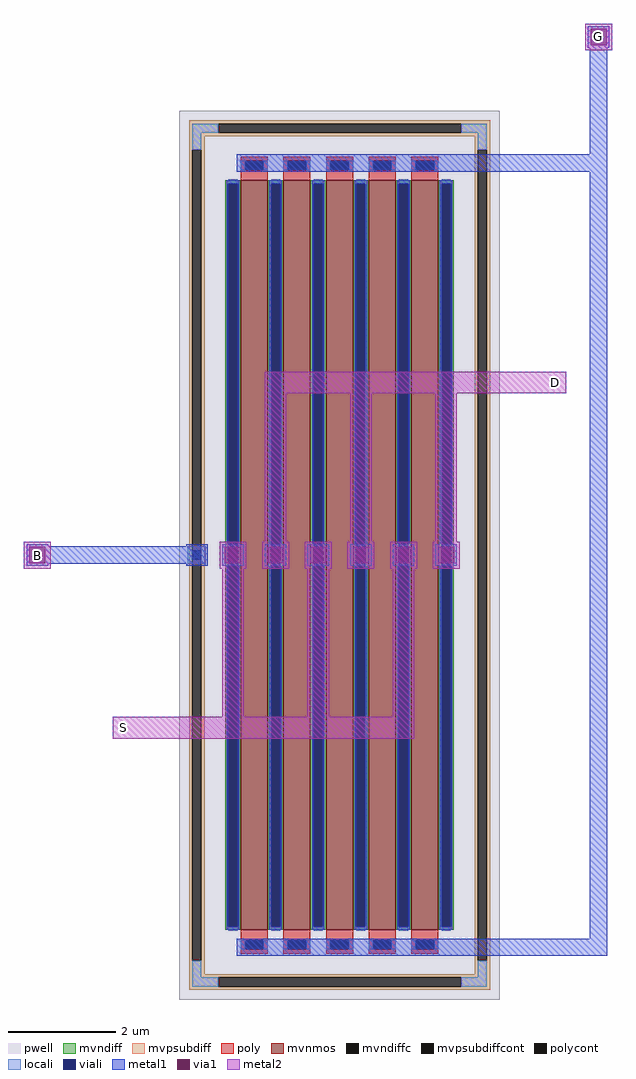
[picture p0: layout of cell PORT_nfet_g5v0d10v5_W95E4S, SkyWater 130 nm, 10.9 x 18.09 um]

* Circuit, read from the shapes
.subckt PORT_nfet_g5v0d10v5_W95E4S B S D G
XM1 D G S B sky130_fd_pr__nfet_g5v0d10v5 w=13.89 l=0.5 m=5
.ends

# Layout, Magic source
magic
tech sky130A
magscale 1 2
use sky130_fd_pr__nfet_g5v0d10v5_W95E4S XDEV
transform 1 0 0 0 1 0
box -594 -1647 594 1647
<< locali >>
rect -562 -33 -496 33
<< viali >>
rect -546 -17 -512 17
<< metal1 >>
rect -569 -40 -489 40
rect -1152 -32 -497 32
rect -1160 -40 -1080 40
rect -435 -40 -355 40
rect -277 -40 -197 40
rect -119 -40 -39 40
rect 39 -40 119 40
rect 197 -40 277 40
rect 355 -40 435 40
rect -382 1421 992 1485
rect -382 -1485 992 -1421
rect 928 -1476 992 1952
rect 920 1880 1000 1960
<< via1 >>
rect -1150 -30 -1090 30
rect -425 -30 -365 30
rect -267 -30 -207 30
rect -109 -30 -49 30
rect 49 -30 109 30
rect 207 -30 267 30
rect 365 -30 425 30
rect 930 1890 990 1950
<< metal2 >>
rect -1170 -50 -1070 50
rect -445 -50 -345 50
rect -435 -40 -355 40
rect -435 -680 -355 40
rect -287 -50 -187 50
rect -277 -40 -197 40
rect -277 -40 -197 680
rect -129 -50 -29 50
rect -119 -40 -39 40
rect -119 -680 -39 40
rect 29 -50 129 50
rect 39 -40 119 40
rect 39 -40 119 680
rect 187 -50 287 50
rect 197 -40 277 40
rect 197 -680 277 40
rect 345 -50 445 50
rect 355 -40 435 40
rect 355 -40 435 680
rect -840 -680 277 -600
rect -277 600 840 680
rect 910 1870 1010 1970
<< labels >>
rlabel metal2 -1150 -30 -1090 30 0 B
port 1 nsew
rlabel metal2 -830 -670 -770 -610 0 S
port 2 nsew
rlabel metal2 770 610 830 670 0 D
port 3 nsew
rlabel metal2 930 1890 990 1950 0 G
port 4 nsew
<< end >>

# cell sky130_fd_pr__nfet_g5v0d10v5_W95E4S: kit device sky130_fd_pr__nfet_g5v0d10v5, w 13.888 l 0.5 m 1 nf 5 diffcov 100 polycov 100 guard 1 glc 1 grc 1 gtc 1 gbc 1 tbcov 100 rlcov 100 topc 1 botc 1 poverlap 0 doverlap 1 lmin 0.50 wmin 0.42 compatible {sky130_fd_pr__nfet_01v8 sky130_fd_pr__nfet_01v8_lvt sky130_fd_bs_flash__special_sonosfet_star sky130_fd_pr__nfet_g5v0d10v5 sky130_fd_pr__nfet_05v0_nvt sky130_fd_pr__nfet_03v3_nvt} full_metal 1 viasrc 100 viadrn 100 viagate 100 viagb 0 viagr 0 viagl 0 viagt 0
